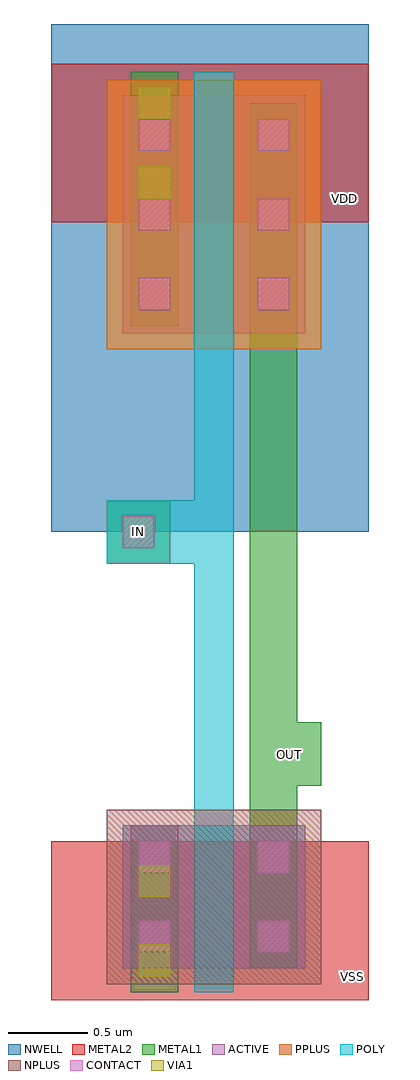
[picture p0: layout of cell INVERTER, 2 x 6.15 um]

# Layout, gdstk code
import gdstk
lib = gdstk.Library(unit=1e-6, precision=1e-09)
def R(c, l, rs):  # rectangles x0, y0, x1, y1
    for r in rs: c.add(gdstk.rectangle(r[:2], r[2:], *l))
def A(c, l, x, y, w, h, nx, ny, dx, dy):  # array of equal rectangles
    R(c, l, [(x+i*dx, y+j*dy, x+i*dx+w, y+j*dy+h) for i in range(nx) for j in range(ny)])
NWELL = (1, 0)
ACTIVE = (2, 0)
PPLUS = (3, 0)
NPLUS = (4, 0)
POLY = (5, 0)
CONTACT = (6, 0)
METAL1 = (7, 0)
VIA1 = (8, 0)
METAL2 = (9, 0)

inverter = lib.new_cell('INVERTER')
R(inverter, NWELL, [(0,2.95,2,6.15)])
R(inverter, ACTIVE, [(0.45,0.2,1.6,1.1), (0.45,4.2,1.6,5.7)])
R(inverter, PPLUS, [(0.35,4.1,1.7,5.8)])
R(inverter, NPLUS, [(0.35,0.1,1.7,1.2)])
R(inverter, POLY, [(0.9,0.05,1.15,1.1), (0.9,1.1,1.15,4.2), (0.35,2.75,0.9,3.15), (0.9,4.2,1.15,5.85)])
A(inverter, CONTACT, 0.55, 4.35, 0.2, 0.2, 1, 3, 0, 0.5)
A(inverter, CONTACT, 1.3, 4.35, 0.2, 0.2, 1, 3, 0, 0.5)
R(inverter, CONTACT, [(0.55,0.3,0.75,0.5), (1.3,0.3,1.5,0.5), (0.55,0.8,0.75,1), (1.3,0.8,1.5,1), (0.45,2.85,0.65,3.05)])
R(inverter, METAL1, [(0.5,0.05,0.8,1.1), (1.25,0.2,1.55,1.05), (1.25,1.05,1.55,4.25), (1.25,1.35,1.7,1.75), (0.35,2.75,0.75,3.15), (0.5,4.25,0.8,5.85), (1.25,4.25,1.55,5.65)])
R(inverter, VIA1, [(0.55,0.15,0.75,0.35), (0.55,0.65,0.75,0.85), (0.55,5.05,0.75,5.25), (0.55,5.55,0.75,5.75)])
R(inverter, METAL2, [(0,0,2,1), (0,4.9,2,5.9)])
inverter.add(gdstk.Label('IN', (0.55,2.95), layer=7, texttype=1))
inverter.add(gdstk.Label('OUT', (1.5,1.55), layer=7, texttype=1))
inverter.add(gdstk.Label('VSS', (1.9,0.15), layer=9, texttype=1))
inverter.add(gdstk.Label('VDD', (1.85,5.05), layer=9, texttype=1))

lib.write_gds('INVERTER.gds')
